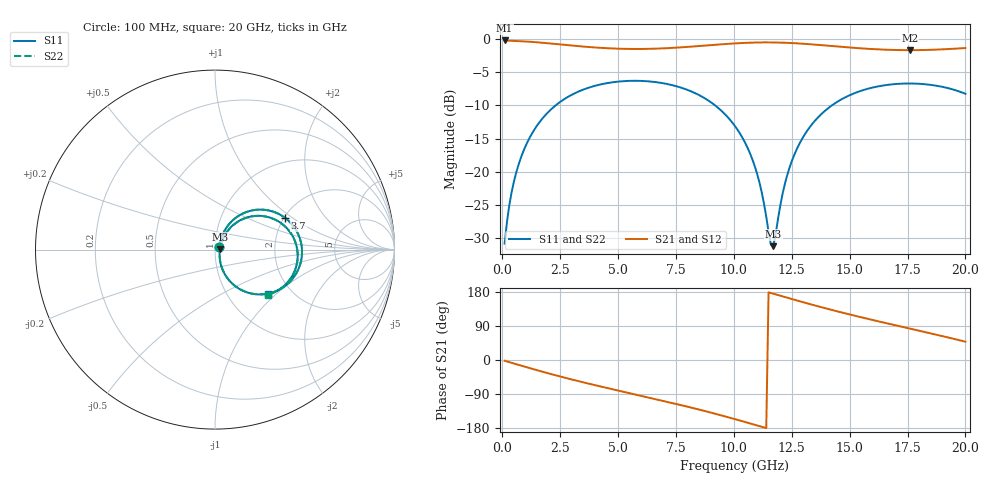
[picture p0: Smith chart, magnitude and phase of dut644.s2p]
! Touchstone file exported from HFSS 2026.1.0
!  File:  C:/ffzhzh/LocalFiles/Ansys_Project_Files/temp_train_TSV_RDL_644_1783128294_37876.aedt
!  Generated:  09:39:17 AM Jul  4, 2026
!  Design:  TSV_RDL
!  Project:  temp_train_TSV_RDL_644_1783128294_37876
! Variables:
!  h_bsmrdl = 5.83um
!  h_ox = 20um
!  h_rdl = 5um
!  h_sub = 50.06um
!  h_tmrdl = 3.86um
!  h_tsv = 50.06um
!  h_via = 3um
!  l_bsmrdl = 410.8um
!  l_sub = 5687.61um
!  l_tmrdl = 981.44um
!  m_sub = 200um
!  pitch = 44.72um
!  r_tsv = 3.13um
!  s_tmrdl = 10um
!  w_bsmrdl = 15.74um
!  w_sub = 500um
!  w_tmrdl = 27.41um
!  x_tsv_center1 = 995.145um
!  x_tsv_center2 = 1421.685um
!  x_tsv_center3 = 2430.535um
!  x_tsv_center4 = 2857.075um
!  x_tsv_center5 = 3865.925um
!  x_tsv_center6 = 4292.465um
# GHz S MA R 50.000000
! Terminal data exported
! Port[1] = TM_RDL1_1_T1
! Port[2] = TM_RDL5_1_T1
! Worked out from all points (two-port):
!   200 points, 100 MHz to 20 GHz, reference 50 ohm
!   highest |S21| = -0.20 dB at 100 MHz (marker M1); lowest = -1.7 dB at 17.6 GHz (marker M2)
!   |S21| within 3 dB of the highest: start of sweep to end of sweep
!   lowest |S11| = -31.2 dB at 11.7 GHz (marker M3), VSWR 1.06, Z = 52.8 + j0.232 ohm
!   |S11| at or under -10 dB: start of sweep to 2.299 GHz; 9.196 GHz to 14.23 GHz (5.034 GHz wide, 43 % of centre)
!   |S22| runs from -31.0 to -6.3 dB; largest |S21 - S12| = 1.6e-14
!   S11 on the Smith chart (normalised r, x): 100 MHz: 1.05, +0.04; 3.7 GHz: 2.03, +0.88; 20 GHz: 1.52, -0.90
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0.1  0.02878 35.6  0.977 -1.9  0.977 -1.9  0.02878 35.6
! Gamma 0 0 0 0
! Port Impedance 50 0 50 0
0.3  0.05565 57.3  0.9735 -5.6  0.9735 -5.6  0.05565 57.3
0.5  0.08414 62.3  0.9702 -9.3  0.9702 -9.3  0.08414 62.3
1.1  0.1695 60.5  0.9577 -20.0  0.9577 -20.0  0.1695 60.5
2.1  0.2949 47.3  0.9263 -37.1  0.9263 -37.1  0.2949 47.3
3.5  0.4167 27.1  0.8786 -59.0  0.8786 -59.0  0.4167 27.1
3.7  0.4289 24.3  0.8729 -62.0  0.8729 -62.0  0.4289 24.3
5.3  0.483 2.6  0.8444 -84.7  0.8444 -84.7  0.483 2.6
6.8  0.4697 -17.3  0.8497 -105.7  0.8497 -105.7  0.4697 -17.3
8.5  0.3785 -40.7  0.887 -130.8  0.887 -130.8  0.3785 -40.7
10.1  0.2148 -62.9  0.9296 -156.9  0.9296 -156.9  0.2149 -62.7
10.9  0.1107 -69.5  0.9423 -170.9  0.9423 -170.9  0.1108 -69.1
11.2  0.07071 -66.3  0.9443 -176.2  0.9443 -176.2  0.07093 -65.8
11.6  0.02828 -23.2  0.9444 176.8  0.9444 176.8  0.02893 -22.7
11.7  0.02753 4.6  0.944 175.0  0.944 175.0  0.02823 4.4
12.1  0.06765 52.4  0.9404 167.9  0.9404 167.9  0.06799 51.9
12.4  0.1068 56.2  0.9359 162.7  0.9359 162.7  0.1071 55.8
13.4  0.2311 47.7  0.9122 145.6  0.9122 145.6  0.2312 47.4
14.9  0.3706 27.3  0.8673 121.7  0.8673 121.7  0.3708 27.1
16.7  0.4537 3.2  0.8305 95.5  0.8305 95.5  0.4538 3.1
17.6  0.4632 -8.5  0.8256 82.9  0.8256 82.9  0.4633 -8.7
20  0.3874 -40.2  0.8568 48.3  0.8568 48.3  0.3875 -40.3
